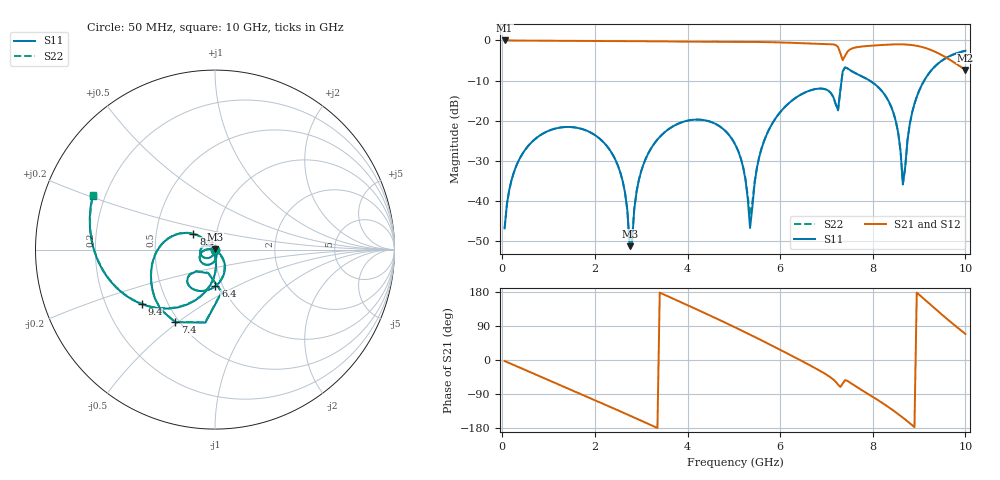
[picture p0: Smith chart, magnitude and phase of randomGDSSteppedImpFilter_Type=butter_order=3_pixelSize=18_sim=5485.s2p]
! freq	dB(S11)	phase(S11)	dB(S12)	phase(S12)
!  dB(S21)	phase(S21)	dB(S22)	phase(S22)
!S-par simulation data
#  GHz  S  DB  R 50
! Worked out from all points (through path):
!   200 points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, 50 MHz to 10 GHz, reference 50 ohm
!   highest |S21| = 0.00 dB at 50 MHz (marker M1); lowest = -7.3 dB at 10 GHz (marker M2)
!   group delay of S21, straight-line fit = 172 ps
!   lowest |S11| = -51.2 dB at 2.75 GHz (marker M3), VSWR 1.01, Z = 50 + j0.273 ohm
!   |S11| at or under -10 dB: start of sweep to 7.326 GHz; 7.933 GHz to 9.11 GHz (1.177 GHz wide, 13.8 % of centre)
!   |S22| runs from -50.5 to -2.6 dB; largest |S21 - S12| = 0
!   S11 on the Smith chart (normalised r, x): 50 MHz: 1.00, -0.01; 6.4 GHz: 0.92, -0.39; 7.4 GHz: 0.48, -0.49; 8.4 GHz: 0.77, +0.14; 9.4 GHz: 0.36, -0.29; 10 GHz: 0.15, +0.20
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0.05  -46.77 -91.6  -0.00 -2.7  -0.00 -2.7  -46.77 -91.6
0.2  -34.75 -100.1  -0.02 -10.7  -0.02 -10.7  -34.75 -100.2
0.55  -26.39 -119.3  -0.04 -29.2  -0.04 -29.2  -26.39 -119.4
1.75  -22.15 176.0  -0.13 -92.7  -0.13 -92.7  -22.15 175.9
2.5  -31.25 134.4  -0.16 -132.9  -0.16 -132.9  -31.26 133.5
2.75  -51.21 95.9  -0.17 -146.5  -0.17 -146.5  -50.45 86.0
3  -32.53 -68.1  -0.20 -160.2  -0.20 -160.2  -32.51 -66.6
3.4  -24.02 -91.5  -0.24 177.8  -0.24 177.8  -24.01 -90.7
4.3  -19.76 -141.1  -0.34 127.9  -0.34 127.9  -19.75 -140.3
5.05  -26.39 178.9  -0.36 84.8  -0.36 84.8  -26.35 -178.8
5.35  -46.70 -129.5  -0.37 67.0  -0.37 67.0  -43.61 -125.7
5.65  -25.12 -45.5  -0.40 48.7  -0.40 48.7  -25.09 -48.0
6.4  -13.80 -89.4  -0.65 1.7  -0.65 1.7  -13.80 -90.2
6.7  -12.27 -108.4  -0.78 -17.7  -0.78 -17.7  -12.27 -109.1
7.25  -17.31 -106.2  -1.64 -64.8  -1.64 -64.8  -17.42 -106.9
7.4  -6.72 -118.7  -3.87 -53.2  -3.87 -53.2  -6.73 -119.0
8.35  -15.30 147.7  -1.03 -125.2  -1.03 -125.2  -15.30 147.2
8.4  -16.57 144.0  -1.01 -129.5  -1.01 -129.5  -16.57 143.6
8.65  -35.80 175.3  -0.98 -152.1  -0.98 -152.1  -35.86 174.2
8.9  -15.77 -93.0  -1.23 -177.0  -1.23 -177.0  -15.78 -93.3
9.4  -5.86 -143.4  -3.11 129.7  -3.11 129.7  -5.86 -143.8
10  -2.57 156.4  -7.34 68.9  -7.34 68.9  -2.57 156.0
